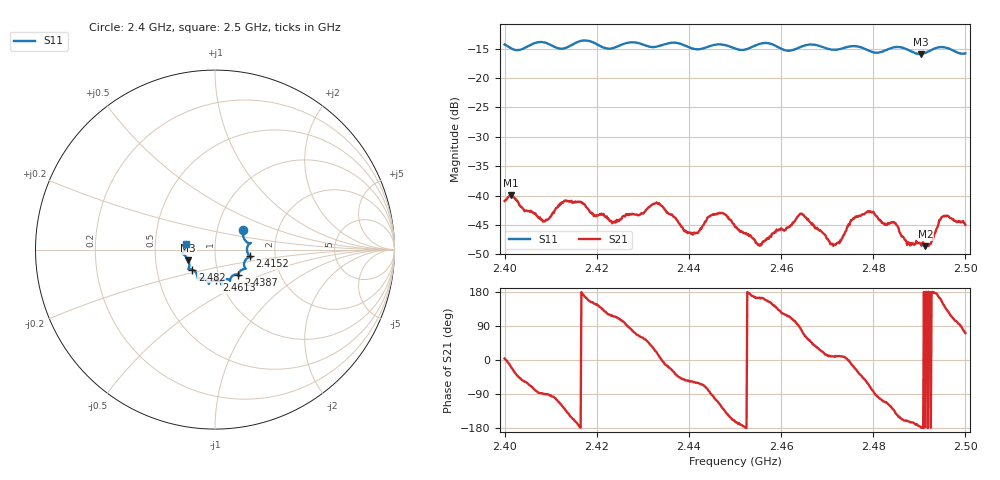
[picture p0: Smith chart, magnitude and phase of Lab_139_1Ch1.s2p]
# Hz S RI R 50
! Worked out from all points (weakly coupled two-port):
!   601 points, 2.4 GHz to 2.5 GHz, reference 50 ohm
!   highest |S21| = -39.97 dB at 2.4013 GHz (marker M1); lowest = -48.6 dB at 2.4913 GHz (marker M2)
!   lowest |S11| = -15.9 dB at 2.4903 GHz (marker M3), VSWR 1.38, Z = 36.8 - j4.48 ohm
!   |S11| at or under -10 dB: start of sweep to end of sweep
!   S12 and S22 are empty: the file has one direction only
!   S11 on the Smith chart (normalised r, x): 2.4 GHz: 1.33, +0.31; 2.4152 GHz: 1.47, -0.11; 2.4387 GHz: 1.24, -0.37; 2.4613 GHz: 0.96, -0.34; 2.482 GHz: 0.76, -0.17; 2.5 GHz: 0.72, +0.05
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2.4e9  0.1579 0.1117  0.00895 0.000619  0 0  0 0
2.401333e9  0.1556 0.0911  0.0096 -0.00291  0 0  0 0
2.408333e9  0.1985 0.0372  9.93e-05 -0.00599  0 0  0 0
2.415167e9  0.1936 -0.0374  -0.0082 -0.00299  0 0  0 0
2.416667e9  0.2033 -0.0436  -0.00869 0.000145  0 0  0 0
2.423667e9  0.1618 -0.0806  -0.00248 0.00538  0 0  0 0
2.433333e9  0.1325 -0.1316  0.00827 0.002  0 0  0 0
2.438667e9  0.1305 -0.1417  0.00338 -0.00405  0 0  0 0
2.447e9  0.0844 -0.174  -0.0038 -0.00598  0 0  0 0
2.45e9  0.0689 -0.1649  -0.00513 -0.00169  0 0  0 0
2.455333e9  0.0347 -0.1924  -0.0036 0.000991  0 0  0 0
2.461333e9  0.00777 -0.1711  -0.00232 0.00481  0 0  0 0
2.464333e9  -0.0298 -0.1826  0.00118 0.00687  0 0  0 0
2.466667e9  -0.0349 -0.1902  0.00392 0.00406  0 0  0 0
2.4715e9  -0.06 -0.1632  0.00375 0.000594  0 0  0 0
2.4765e9  -0.0963 -0.1593  0.00578 -0.00328  0 0  0 0
2.482e9  -0.1258 -0.1115  -0.0017 -0.00562  0 0  0 0
2.483333e9  -0.1395 -0.1086  -0.00265 -0.0052  0 0  0 0
2.490333e9  -0.149 -0.0593  -0.00384 -0.000208  0 0  0 0
2.491333e9  -0.1579 -0.0444  -0.0037 8.63e-05  0 0  0 0
2.495167e9  -0.1822 -0.0197  -0.0056 0.00358  0 0  0 0
2.5e9  -0.1589 0.0324  0.00183 0.00532  0 0  0 0
